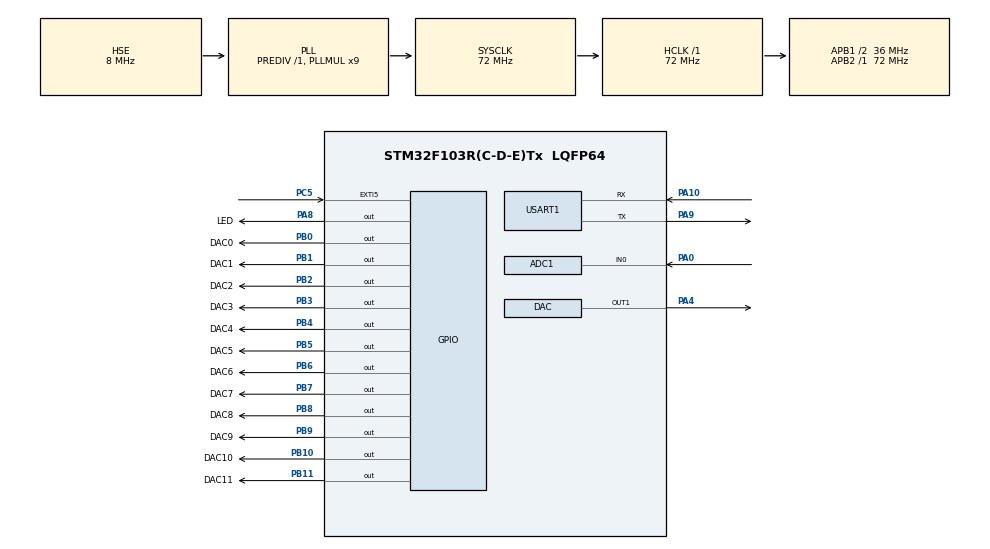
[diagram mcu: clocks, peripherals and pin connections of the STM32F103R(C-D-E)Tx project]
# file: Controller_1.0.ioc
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ADC1.Channel-0\#ChannelRegularConversion=ADC_CHANNEL_0
ADC1.ContinuousConvMode=DISABLE
ADC1.NbrOfConversionFlag=1
ADC1.Rank-0\#ChannelRegularConversion=1
ADC1.SamplingTime-0\#ChannelRegularConversion=ADC_SAMPLETIME_1CYCLE_5
ADC1.master=1
Mcu.Family=STM32F1
Mcu.Name=STM32F103R(C-D-E)Tx
Mcu.Package=LQFP64
NVIC.EXTI9_5_IRQn=true\:1\:0\:true\:false\:true\:true\:true\:true
NVIC.PriorityGroup=NVIC_PRIORITYGROUP_4
PA0-WKUP.Signal=ADCx_IN0
PA10.Mode=Asynchronous
PA10.Signal=USART1_RX
PA13.Mode=Serial_Wire
PA13.Signal=SYS_JTMS-SWDIO
PA14.Mode=Serial_Wire
PA14.Signal=SYS_JTCK-SWCLK
PA4.Signal=COMP_DAC1_group
PA8.GPIO_Label=LED
PA8.GPIO_PuPd=GPIO_PULLUP
PA8.GPIO_Speed=GPIO_SPEED_FREQ_HIGH
PA8.PinState=GPIO_PIN_SET
PA8.Signal=GPIO_Output
PA9.Mode=Asynchronous
PA9.Signal=USART1_TX
PB0.GPIO_Label=DAC0
PB0.GPIO_PuPd=GPIO_NOPULL
PB0.GPIO_Speed=GPIO_SPEED_FREQ_HIGH
PB0.Signal=GPIO_Output
PB1.GPIO_Label=DAC1
PB1.GPIO_Speed=GPIO_SPEED_FREQ_HIGH
PB1.Signal=GPIO_Output
PB10.GPIO_Label=DAC10
PB10.GPIO_Speed=GPIO_SPEED_FREQ_HIGH
PB10.Signal=GPIO_Output
PB11.GPIO_Label=DAC11
PB11.GPIO_Speed=GPIO_SPEED_FREQ_HIGH
PB11.Signal=GPIO_Output
PB2.GPIO_Label=DAC2
PB2.GPIO_Speed=GPIO_SPEED_FREQ_HIGH
PB2.Signal=GPIO_Output
PB3.GPIO_Label=DAC3
PB3.GPIO_Speed=GPIO_SPEED_FREQ_HIGH
PB3.Signal=GPIO_Output
PB4.GPIO_Label=DAC4
PB4.GPIO_Speed=GPIO_SPEED_FREQ_HIGH
PB4.Signal=GPIO_Output
PB5.GPIO_Label=DAC5
PB5.GPIO_Speed=GPIO_SPEED_FREQ_HIGH
PB5.Signal=GPIO_Output
PB6.GPIO_Label=DAC6
PB6.GPIO_Speed=GPIO_SPEED_FREQ_HIGH
PB6.Signal=GPIO_Output
PB7.GPIO_Label=DAC7
PB7.GPIO_Speed=GPIO_SPEED_FREQ_HIGH
PB7.Signal=GPIO_Output
PB8.GPIO_Label=DAC8
PB8.GPIO_Speed=GPIO_SPEED_FREQ_HIGH
PB8.Signal=GPIO_Output
PB9.GPIO_Label=DAC9
PB9.GPIO_Speed=GPIO_SPEED_FREQ_HIGH
PB9.Signal=GPIO_Output
PC14-OSC32_IN.Mode=LSE-External-Oscillator
PC14-OSC32_IN.Signal=RCC_OSC32_IN
PC15-OSC32_OUT.Mode=LSE-External-Oscillator
PC15-OSC32_OUT.Signal=RCC_OSC32_OUT
PC5.GPIO_ModeDefaultEXTI=GPIO_MODE_IT_FALLING
PC5.GPIO_PuPd=GPIO_PULLUP
PC5.Signal=GPXTI5
PD0-OSC_IN.Mode=HSE-External-Oscillator
PD0-OSC_IN.Signal=RCC_OSC_IN
PD1-OSC_OUT.Mode=HSE-External-Oscillator
PD1-OSC_OUT.Signal=RCC_OSC_OUT
ProjectManager.HeapSize=0x200
ProjectManager.StackSize=0x400
ProjectManager.TargetToolchain=MDK-ARM V5.32
RCC.ADCPresc=RCC_ADCPCLK2_DIV6
RCC.AHBFreq_Value=72000000
RCC.APB1CLKDivider=RCC_HCLK_DIV2
RCC.APB1Freq_Value=36000000
RCC.APB1TimFreq_Value=72000000
RCC.APB2Freq_Value=72000000
RCC.APB2TimFreq_Value=72000000
RCC.HCLKFreq_Value=72000000
RCC.PLLMUL=RCC_PLL_MUL9
RCC.PLLSourceVirtual=RCC_PLLSOURCE_HSE
RCC.SYSCLKFreq_VALUE=72000000
RCC.SYSCLKSource=RCC_SYSCLKSOURCE_PLLCLK
RCC.USBFreq_Value=72000000
SH.ADCx_IN0.0=ADC1_IN0,IN0
SH.COMP_DAC1_group.0=DAC_OUT1,DAC_OUT1
USART1.VirtualMode=VM_ASYNC
board=custom

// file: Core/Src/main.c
/* USER CODE BEGIN Header */
/**
  ******************************************************************************
  * @file           : main.c
  * @brief          : Main program body
  ******************************************************************************
  * @attention
  *
  * Copyright (c) 2023 STMicroelectronics.
  * All rights reserved.
  *
  * This software is licensed under terms that can be found in the LICENSE file
  * in the root directory of this software component.
  * If no LICENSE file comes with this software, it is provided AS-IS.
  *
  ******************************************************************************
  */
/* USER CODE END Header */
#include "main.h"
#include "adc.h"
#include "dac.h"
#include "usart.h"
#include "gpio.h"

/* USER CODE BEGIN Includes */

#include "stdio.h"
#include "pid.h"

/* USER CODE END Includes */

/* USER CODE BEGIN PTD */
typedef unsigned short int u16;
/* USER CODE END PTD */

/* USER CODE BEGIN PV */

pid_config mypid;
u16 adc_value;
u16 dac_value;
float vref = 3.3;
float adc_vol;
float dac_vol;

/* USER CODE END PV */

void SystemClock_Config(void);

/* USER CODE BEGIN 0 */
int fputc(int ch, FILE *f){
    HAL_UART_Transmit(&huart1, (uint8_t *)&ch, 1, 0xffff);
	return ch;
}
/* USER CODE END 0 */

int main(void)
{

	/* MCU Configuration--------------------------------------------------------*/

	/* Reset of all peripherals, Initializes the Flash interface and the Systick. */
	HAL_Init();

	/* Configure the system clock */
	SystemClock_Config();

	/* USER CODE BEGIN SysInit */
	PID_init(&mypid);
	/* USER CODE END SysInit */

	/* Initialize all configured peripherals */
	MX_GPIO_Init();
	MX_ADC1_Init();
	MX_DAC_Init();
	MX_USART1_UART_Init();

	/* Infinite loop */
	/* USER CODE BEGIN WHILE */

	printf("test start\r\n");
	HAL_DAC_Start(&hdac,DAC_CHANNEL_1);   //开启DAC通道1
	HAL_DAC_SetValue(&hdac,DAC_CHANNEL_1,DAC_ALIGN_12B_R,0);  //设置初始值为0

	while (1)
	{
		HAL_ADC_Start(&hadc1);

		HAL_ADC_PollForConversion(&hadc1,10);
		adc_value = HAL_ADC_GetValue(&hadc1);
		adc_vol = adc_value*(vref/4096);

		mypid.ActualValue = adc_vol;
		dac_vol = PID_realize(&mypid);

		dac_value = dac_vol*4096/vref;
		HAL_DAC_SetValue(&hdac,DAC_CHANNEL_1,DAC_ALIGN_12B_R,dac_value);
		GPIOB->ODR = (u16)dac_value;
		printf("%f\r\n", adc_vol);
		HAL_Delay(10);

    /* USER CODE END WHILE */

	}
}

void SystemClock_Config(void)
{
  RCC_OscInitTypeDef RCC_OscInitStruct = {0};
  RCC_ClkInitTypeDef RCC_ClkInitStruct = {0};
  RCC_PeriphCLKInitTypeDef PeriphClkInit = {0};

  /** Initializes the RCC Oscillators according to the specified parameters
  * in the RCC_OscInitTypeDef structure.
  */
  RCC_OscInitStruct.OscillatorType = RCC_OSCILLATORTYPE_HSE;
  RCC_OscInitStruct.HSEState = RCC_HSE_ON;
  RCC_OscInitStruct.HSEPredivValue = RCC_HSE_PREDIV_DIV1;
  RCC_OscInitStruct.HSIState = RCC_HSI_ON;
  RCC_OscInitStruct.PLL.PLLState = RCC_PLL_ON;
  RCC_OscInitStruct.PLL.PLLSource = RCC_PLLSOURCE_HSE;
  RCC_OscInitStruct.PLL.PLLMUL = RCC_PLL_MUL9;
  if (HAL_RCC_OscConfig(&RCC_OscInitStruct) != HAL_OK)
  {
    Error_Handler();
  }

  /** Initializes the CPU, AHB and APB buses clocks
  */
  RCC_ClkInitStruct.ClockType = RCC_CLOCKTYPE_HCLK|RCC_CLOCKTYPE_SYSCLK
                              |RCC_CLOCKTYPE_PCLK1|RCC_CLOCKTYPE_PCLK2;
  RCC_ClkInitStruct.SYSCLKSource = RCC_SYSCLKSOURCE_PLLCLK;
  RCC_ClkInitStruct.AHBCLKDivider = RCC_SYSCLK_DIV1;
  RCC_ClkInitStruct.APB1CLKDivider = RCC_HCLK_DIV2;
  RCC_ClkInitStruct.APB2CLKDivider = RCC_HCLK_DIV1;

  if (HAL_RCC_ClockConfig(&RCC_ClkInitStruct, FLASH_LATENCY_2) != HAL_OK)
  {
    Error_Handler();
  }
  PeriphClkInit.PeriphClockSelection = RCC_PERIPHCLK_ADC;
  PeriphClkInit.AdcClockSelection = RCC_ADCPCLK2_DIV6;
  if (HAL_RCCEx_PeriphCLKConfig(&PeriphClkInit) != HAL_OK)
  {
    Error_Handler();
  }
}

void Error_Handler(void)
{
  __disable_irq();
  while (1)
  {
  }
}
